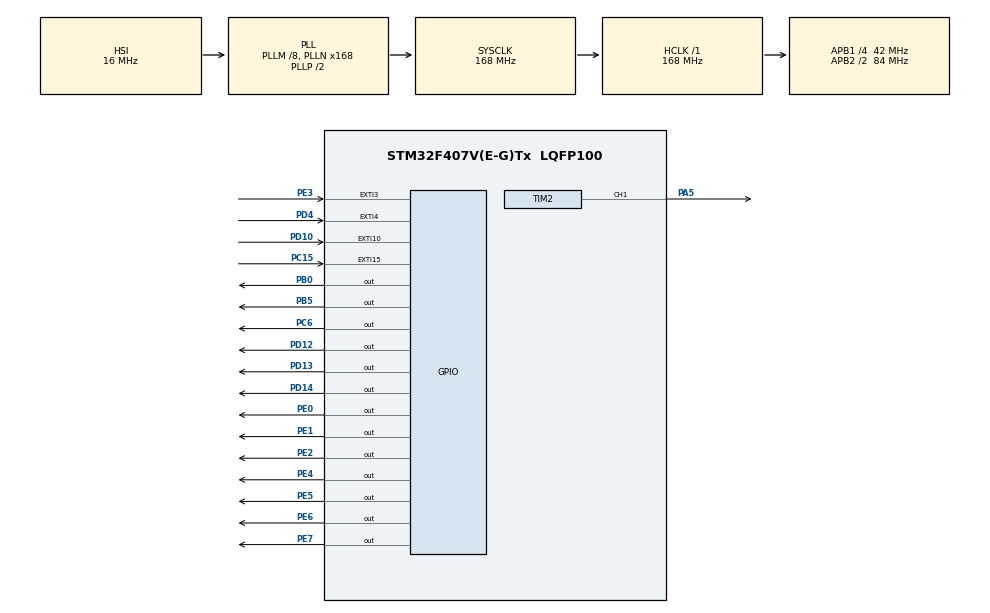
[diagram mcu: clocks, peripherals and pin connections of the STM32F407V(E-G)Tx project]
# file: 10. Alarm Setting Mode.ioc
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Mcu.Family=STM32F4
Mcu.Name=STM32F407V(E-G)Tx
Mcu.Package=LQFP100
NVIC.EXTI15_10_IRQn=true\:0\:0\:false\:false\:true\:true\:true\:true
NVIC.EXTI3_IRQn=true\:0\:0\:false\:false\:true\:true\:true\:true
NVIC.EXTI4_IRQn=true\:0\:0\:false\:false\:true\:true\:true\:true
NVIC.PriorityGroup=NVIC_PRIORITYGROUP_4
NVIC.TIM6_DAC_IRQn=true\:0\:0\:false\:true\:true\:1\:true\:true\:true
PA5.Signal=S_TIM2_CH1_ETR
PB0.Signal=GPIO_Output
PB5.Signal=GPIO_Output
PC15-OSC32_OUT.GPIO_ModeDefaultEXTI=GPIO_MODE_IT_RISING_FALLING
PC15-OSC32_OUT.Signal=GPXTI15
PC6.Signal=GPIO_Output
PD10.GPIO_ModeDefaultEXTI=GPIO_MODE_IT_RISING_FALLING
PD10.Signal=GPXTI10
PD12.Signal=GPIO_Output
PD13.Signal=GPIO_Output
PD14.Signal=GPIO_Output
PD4.GPIO_ModeDefaultEXTI=GPIO_MODE_IT_RISING_FALLING
PD4.Signal=GPXTI4
PE0.Signal=GPIO_Output
PE1.Signal=GPIO_Output
PE2.Signal=GPIO_Output
PE3.GPIO_ModeDefaultEXTI=GPIO_MODE_IT_RISING_FALLING
PE3.Signal=GPXTI3
PE4.Signal=GPIO_Output
PE5.Signal=GPIO_Output
PE6.Signal=GPIO_Output
PE7.Signal=GPIO_Output
PH0-OSC_IN.Mode=HSE-External-Oscillator
PH0-OSC_IN.Signal=RCC_OSC_IN
PH1-OSC_OUT.Mode=HSE-External-Oscillator
PH1-OSC_OUT.Signal=RCC_OSC_OUT
ProjectManager.HeapSize=0x200
ProjectManager.StackSize=0x400
ProjectManager.TargetToolchain=STM32CubeIDE
RCC.48MHZClocksFreq_Value=84000000
RCC.AHBFreq_Value=168000000
RCC.APB1CLKDivider=RCC_HCLK_DIV4
RCC.APB1Freq_Value=42000000
RCC.APB1TimFreq_Value=84000000
RCC.APB2CLKDivider=RCC_HCLK_DIV2
RCC.APB2Freq_Value=84000000
RCC.APB2TimFreq_Value=168000000
RCC.CortexFreq_Value=168000000
RCC.HCLKFreq_Value=168000000
RCC.HSE_VALUE=8000000
RCC.HSI_VALUE=16000000
RCC.LSE_VALUE=32768
RCC.PLLM=8
RCC.PLLN=168
RCC.SYSCLKFreq_VALUE=168000000
RCC.SYSCLKSource=RCC_SYSCLKSOURCE_PLLCLK
RCC.VCOOutputFreq_Value=336000000
SH.S_TIM2_CH1_ETR.0=TIM2_CH1,PWM Generation1 CH1
TIM2.Channel-PWM\ Generation1\ CH1=TIM_CHANNEL_1
TIM2.Period=9
TIM2.Prescaler=41999
TIM2.Pulse-PWM\ Generation1\ CH1=4
TIM6.Period=839
TIM6.Prescaler=99
VP_TIM2_VS_ClockSourceINT.Mode=Internal
VP_TIM6_VS_ClockSourceINT.Mode=Enable_Timer
board=custom

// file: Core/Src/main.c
/* USER CODE BEGIN Header */
/**
  ******************************************************************************
  * @file           : main.c
  * @brief          : Main program body
  ******************************************************************************
  * @attention
  *
  * Copyright (c) 2024 STMicroelectronics.
  * All rights reserved.
  *
  * This software is licensed under terms that can be found in the LICENSE file
  * in the root directory of this software component.
  * If no LICENSE file comes with this software, it is provided AS-IS.
  *
  ******************************************************************************
  */
/* USER CODE END Header */
#include "main.h"
#include "tim.h"
#include "gpio.h"

/* USER CODE BEGIN Includes */
#include "easyMacros.h"
#include "7SEG.h"
#include "CLCD.h"
#include "lap.h"
#include "button1_event.h"
#include "stopwatch.h"
#include "alarm.h"
/* USER CODE END Includes */

/* USER CODE BEGIN PV */
CLCD clcd = {"", ""};
System system = {0, CLOCK};
System_Mode previous_system_mode = CLOCK;
Lap lap = {0, 0, {}, READY};
Stopwatch stopwatch = {OFF, {0, 0, 0, 0}, STOPPED};
Button button1 = {0, 0, 0, NONE};
Button button2 = {0, 0, 0, NONE};
Button button3 = {0, 0, 0, NONE};
Button button4 = {0, 0, 0, NONE};
Buzzer buzzer = {0, 0, ON, STOP};
Clock clock = {ON, FALSE, FALSE, {2024, 8, 21, 22, 49, 50, 0}}; // Now Time On 3rd Parameter
Clock_Config clock_config = {SECOND};
Alarm alarm = {0, {1,2,3,4,22}, {10, 20, 30, 40, 50}, {ON, ON, ON, ON, ON}, {ON, ON, ON, ON, ON}, FALSE};
Alarm_Config alarm_config = {SELECT};
/* USER CODE END PV */

void SystemClock_Config(void);
static void MX_NVIC_Init(void);
/* USER CODE BEGIN PFP */
void convert_stopwatch_time_format();
/* USER CODE END PFP */

int main(void)
{

  /* MCU Configuration--------------------------------------------------------*/

  /* Reset of all peripherals, Initializes the Flash interface and the Systick. */
  HAL_Init();

  /* Configure the system clock */
  SystemClock_Config();

  /* Initialize all configured peripherals */
  MX_GPIO_Init();
  MX_TIM6_Init();
  MX_TIM2_Init();

  /* Initialize interrupts */
  MX_NVIC_Init();
  /* USER CODE BEGIN 2 */
  L_RED_LED_OFF();
  L_GREEN_LED_OFF();
  L_BLUE_LED_OFF();
  R_RED_LED_OFF();
  R_GREEN_LED_OFF();
  R_BLUE_LED_OFF();

  HAL_TIM_Base_Start_IT(&htim6);
  _7SEG_GPIO_Init();
  CLCD_GPIO_Init();
  CLCD_Init();
  CLCD_Clear();
  init_clock();

  /* USER CODE END 2 */

  /* Infinite loop */
  while (1)
  {

    /* USER CODE BEGIN 3 */

	  switch(system.mode)
	  {
	    case STOPWATCH:
	    	stopwatch_show_time();

			switch(lap.state)
			{
			case MEASURE : lap_measure(); break;
			case DISPLAY_RECORD : lap_display_record(); break;
			case CLEAR : lap_clear(); break;
			}

			break;

		case CLOCK:
			show_clock();

			break;

		case CLOCK_CONFIG:
			show_clock_config();

			break;

		case ALARM:
			show_alarm();

			break;

		case ALARM_CONFIG:
			show_alarm_config();

			break;

		case ALARM_TRIGGER:
			trigger_alarm();

			break;
	  }
  }
  /* USER CODE END 3 */
}

void SystemClock_Config(void)
{
  RCC_OscInitTypeDef RCC_OscInitStruct = {0};
  RCC_ClkInitTypeDef RCC_ClkInitStruct = {0};

  /** Configure the main internal regulator output voltage
  */
  __HAL_RCC_PWR_CLK_ENABLE();
  __HAL_PWR_VOLTAGESCALING_CONFIG(PWR_REGULATOR_VOLTAGE_SCALE1);

  /** Initializes the RCC Oscillators according to the specified parameters
  * in the RCC_OscInitTypeDef structure.
  */
  RCC_OscInitStruct.OscillatorType = RCC_OSCILLATORTYPE_HSI;
  RCC_OscInitStruct.HSIState = RCC_HSI_ON;
  RCC_OscInitStruct.HSICalibrationValue = RCC_HSICALIBRATION_DEFAULT;
  RCC_OscInitStruct.PLL.PLLState = RCC_PLL_ON;
  RCC_OscInitStruct.PLL.PLLSource = RCC_PLLSOURCE_HSI;
  RCC_OscInitStruct.PLL.PLLM = 8;
  RCC_OscInitStruct.PLL.PLLN = 168;
  RCC_OscInitStruct.PLL.PLLP = RCC_PLLP_DIV2;
  RCC_OscInitStruct.PLL.PLLQ = 4;
  if (HAL_RCC_OscConfig(&RCC_OscInitStruct) != HAL_OK)
  {
    Error_Handler();
  }

  /** Initializes the CPU, AHB and APB buses clocks
  */
  RCC_ClkInitStruct.ClockType = RCC_CLOCKTYPE_HCLK|RCC_CLOCKTYPE_SYSCLK
                              |RCC_CLOCKTYPE_PCLK1|RCC_CLOCKTYPE_PCLK2;
  RCC_ClkInitStruct.SYSCLKSource = RCC_SYSCLKSOURCE_PLLCLK;
  RCC_ClkInitStruct.AHBCLKDivider = RCC_SYSCLK_DIV1;
  RCC_ClkInitStruct.APB1CLKDivider = RCC_HCLK_DIV4;
  RCC_ClkInitStruct.APB2CLKDivider = RCC_HCLK_DIV2;

  if (HAL_RCC_ClockConfig(&RCC_ClkInitStruct, FLASH_LATENCY_5) != HAL_OK)
  {
    Error_Handler();
  }
}

/**
  * @brief NVIC Configuration.
  * @retval None
  */
static void MX_NVIC_Init(void)
{
  /* TIM6_DAC_IRQn interrupt configuration */
  HAL_NVIC_SetPriority(TIM6_DAC_IRQn, 0, 0);
  HAL_NVIC_EnableIRQ(TIM6_DAC_IRQn);
}

/* USER CODE BEGIN 4 */
void HAL_TIM_PeriodElapsedCallback(TIM_HandleTypeDef *htim)
{
	if(htim->Instance == TIM6)
	{
		// timers for system
		system.wait_milisecond++;
		clock.time.milisecond++;
		clock_convert_time_format();

		if(stopwatch.state == RUNNING)
		{
			stopwatch.time.milisecond++;
			stopwatch_convert_time_format();
		}
		if(buzzer.state == BEEP)
		{
			buzzer.running_milisecond++;
			beep_buzzer_check();
		}
		if(system.mode != ALARM_CONFIG &&
		   clock.time.milisecond == 0 && clock.time.second == 0)
		{
			check_alarm();
		}

		// timers for buttons
		if(CHECK_SW1_PRESSING())
		{
			button1.hold_milisecond++;
			button1_measure_hold();
		}
		if(CHECK_SW2_PRESSING())
		{
			button2.hold_milisecond++;
			button2_measure_hold();
		}
		if(CHECK_SW3_PRESSING())
		{
			button3.hold_milisecond++;
			button3_measure_hold();
		}
		if(CHECK_SW4_PRESSING())
		{
			button4.hold_milisecond++;
			button4_measure_hold();
		}
	}
}

void HAL_GPIO_EXTI_Callback(uint16_t GPIO_Pin)
{
	// SW1 press
	if(GPIO_Pin == SW1 && CHECK_SW1_PRESSING())
	{
		button1_start();
	}

	// SW1 release
	if(GPIO_Pin == SW1 && !CHECK_SW1_PRESSING())
	{
		button1_finish();
	}

	// SW2 press
	if(GPIO_Pin == SW2 && CHECK_SW2_PRESSING())
	{
		button2_start();
	}

	// SW2 release
	if(GPIO_Pin == SW2 && !CHECK_SW2_PRESSING())
	{
		button2_finish();
	}

	// SW3 press
	if(GPIO_Pin == SW3 && CHECK_SW3_PRESSING())
	{
		button3_start();
	}

	// SW3 release
	if(GPIO_Pin == SW3 && !CHECK_SW3_PRESSING())
	{
		button3_finish();
	}

	// SW4 press
	if(GPIO_Pin == SW4 && CHECK_SW4_PRESSING())
	{
		button4_start();
	}

	// SW4 release
	if(GPIO_Pin == SW4 && !CHECK_SW4_PRESSING())
	{
		button4_finish();
	}
}

void change_system_mode(System_Mode new_mode)
{
	previous_system_mode = system.mode;
	system.mode = new_mode;
}
/* USER CODE END 4 */

void Error_Handler(void)
{
  __disable_irq();
  while (1)
  {
  }
}
